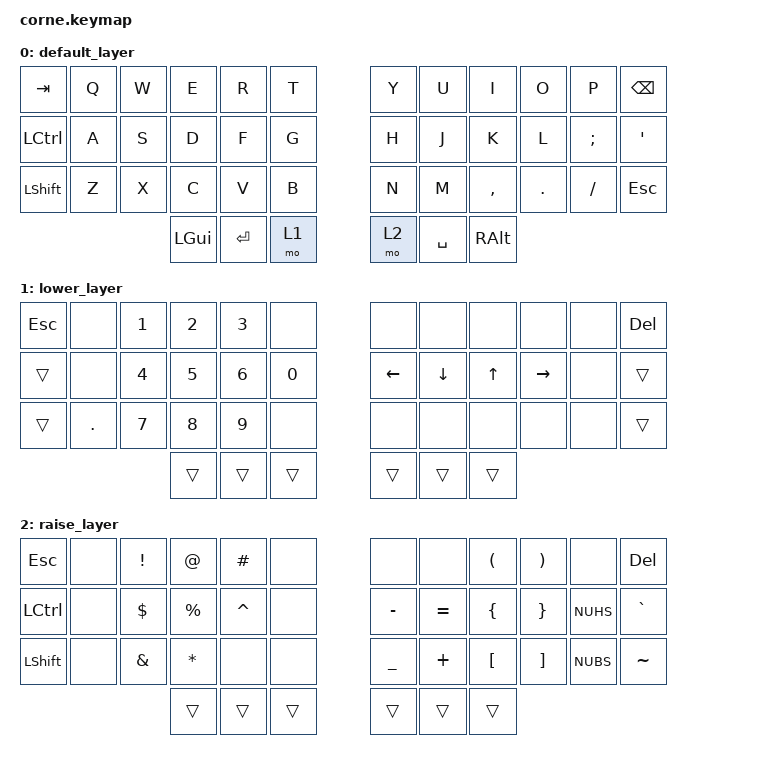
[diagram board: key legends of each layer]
/*
 * Copyright (c) 2020 The ZMK Contributors
 *
 * SPDX-License-Identifier: MIT
 */

#include <behaviors.dtsi>
#include <dt-bindings/zmk/keys.h>
#include <dt-bindings/zmk/bt.h>

/ {
        keymap {
                compatible = "zmk,keymap";

                default_layer {
// -----------------------------------------------------------------------------------------
// |  TAB |  Q  |  W  |  E  |  R  |  T  |   |  Y  |  U   |  I  |  O  |  P  | BSPC |
// | CTRL |  A  |  S  |  D  |  F  |  G  |   |  H  |  J   |  K  |  L  |  ;  |  '   |
// | SHFT |  Z  |  X  |  C  |  V  |  B  |   |  N  |  M   |  ,  |  .  |  /  | ESC  |
//                    | GUI | LWR | SPC |   | ENT | RSE  | ALT |
                        bindings = <
   &kp TAB   &kp Q &kp W &kp E &kp R &kp T   &kp Y &kp U  &kp I     &kp O   &kp P    &kp BSPC
   &kp LCTRL &kp A &kp S &kp D &kp F &kp G   &kp H &kp J  &kp K     &kp L   &kp SEMI &kp SQT
   &kp LSHFT &kp Z &kp X &kp C &kp V &kp B   &kp N &kp M  &kp COMMA &kp DOT &kp FSLH &kp ESC
                  &kp LGUI &kp RET   &mo 1   &mo 2 &kp SPACE &kp RALT
                        >;
                };
                lower_layer {
// -----------------------------------------------------------------------------------------
// |  TAB |  1  |  2  |  3  |  4  |  5  |   |  6  |  7  |  8  |  9  |  0  | BSPC |
// | BTCLR| BT1 | BT2 | BT3 | BT4 | BT5 |   | LFT | DWN |  UP | RGT |     |      |
// | SHFT |     |     |     |     |     |   |     |     |     |     |     |      |
//                    | GUI |     | SPC |   | ENT |     | ALT |
                        bindings = <
   &kp ESC &none    &kp N1  &kp N2  &kp N3 &none      &none    &none     &none   &none	   &none  &kp DEL
   &trans  &none    &kp N4  &kp N5  &kp N6 &kp N0     &kp LEFT &kp DOWN  &kp UP  &kp RIGHT &none  &trans
   &trans  &kp DOT  &kp N7  &kp N8  &kp N9 &none      &none    &none     &none   &none     &none  &trans
                            &trans  &trans &trans     &trans   &trans    &trans  
                        >;
                };
                raise_layer {
// -----------------------------------------------------------------------------------------
// |  TAB |  !  |  @  |  #  |  $  |  %  |   |  ^  |  &  |  *  |  (  |  )  | BSPC |
// | CTRL |     |     |     |     |     |   |  -  |  =  |  [  |  ]  |  \  |  `   |
// | SHFT |     |     |     |     |     |   |  _  |  +  |  {  |  }  | "|" |  ~   |
//                    | GUI |     | SPC |   | ENT |     | ALT |
                        bindings = <
   &kp ESC   &none  &kp EXCL &kp AT    &kp HASH   &none      &none     &none     &kp LPAR  &kp RPAR &none    &kp DEL
   &kp LCTRL &none  &kp DLLR &kp PRCNT &kp CARET  &none      &kp MINUS &kp EQUAL &kp LBRC  &kp RBRC &kp NUHS &kp GRAVE
   &kp LSHFT &none  &kp AMPS &kp ASTRK &none      &none      &kp UNDER &kp PLUS  &kp LBKT  &kp RBKT &kp NUBS &kp TILDE
                             &trans    &trans     &trans     &trans    &trans    &trans
                        >;
                };
        };
};
